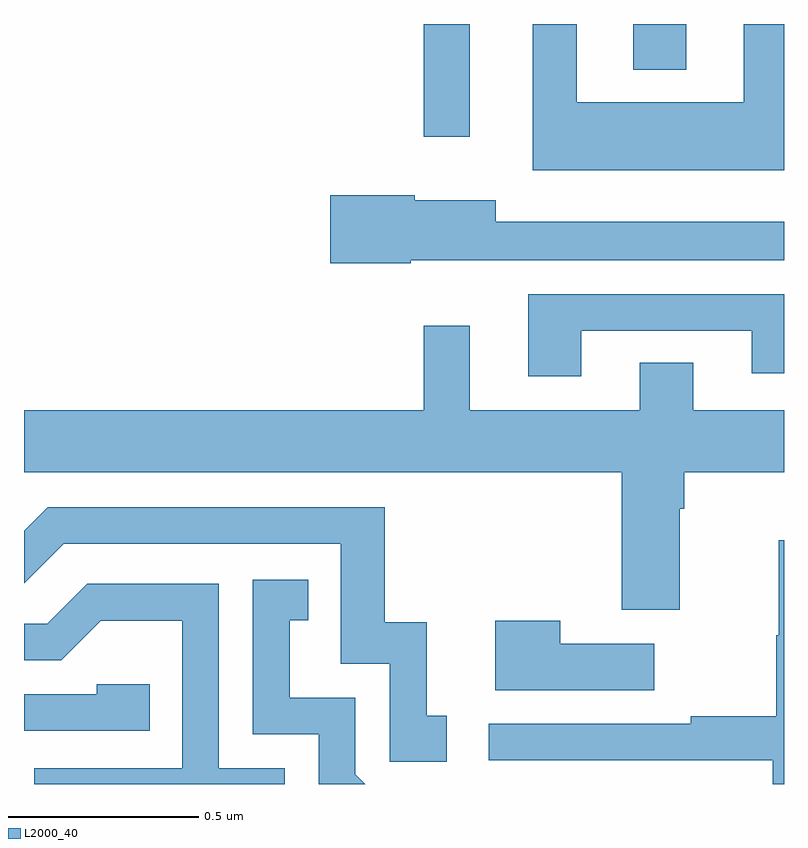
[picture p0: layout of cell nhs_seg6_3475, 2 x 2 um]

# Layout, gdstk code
import gdstk
lib = gdstk.Library(unit=1e-6, precision=1e-09)
def R(c, l, rs):  # rectangles x0, y0, x1, y1
    for r in rs: c.add(gdstk.rectangle(r[:2], r[2:], *l))
def P(c, l, *ps):  # polygons
    for p in ps: c.add(gdstk.Polygon(p, *l))
L2000_40 = (2000, 40)

nhs_seg6_3475 = lib.new_cell('nhs_seg6_3475')
R(nhs_seg6_3475, L2000_40, [(158.052,964.203,158.173,964.5), (158.603,964.379,158.743,964.5)])
P(nhs_seg6_3475, L2000_40, [(159,964.5),(158.894,964.5),(158.894,964.294),(158.455,964.294),(158.455,964.5),(158.339,964.5),(158.339,964.115),(159,964.115)],
  [(158.018,963.878),(159,963.878),(159,963.979),(158.242,963.979),(158.242,964.036),(158.028,964.036),(158.028,964.049),(157.806,964.049),(157.806,963.871),(158.018,963.871)],
  [(158.467,963.693),(158.915,963.693),(158.915,963.581),(159,963.581),(159,963.789),(158.327,963.789),(158.327,963.573),(158.467,963.573)],
  [(158.725,963.224),(158.738,963.224),(158.738,963.32),(159,963.32),(159,963.484),(158.761,963.484),(158.761,963.608),(158.621,963.608),(158.621,963.484),(158.173,963.484),(158.173,963.706),(158.052,963.706),(158.052,963.484),(157,963.484),(157,963.32),(158.573,963.32),(158.573,962.958),(158.725,962.958)],
  [(158.113,962.679),(158.06,962.679),(158.06,962.926),(157.949,962.926),(157.949,963.228),(157.062,963.228),(157,963.166),(157,963.028),(157.104,963.132),(157.833,963.132),(157.833,962.817),(157.962,962.817),(157.962,962.559),(158.113,962.559)],
  [(159,963.142),(158.986,963.142),(158.986,962.892),(158.979,962.892),(158.979,962.678),(158.755,962.678),(158.755,962.658),(158.223,962.658),(158.223,962.562),(158.971,962.562),(158.971,962.5),(159,962.5)],
  [(157.872,962.526),(157.872,962.727),(157.699,962.727),(157.699,962.931),(157.748,962.931),(157.748,963.037),(157.602,963.037),(157.602,962.631),(157.776,962.631),(157.776,962.5),(157.898,962.5)],
  [(157.686,962.541),(157.512,962.541),(157.512,963.027),(157.166,963.027),(157.061,962.922),(157,962.922),(157,962.826),(157.098,962.826),(157.202,962.93),(157.416,962.93),(157.416,962.541),(157.027,962.541),(157.027,962.5),(157.686,962.5)],
  [(158.659,962.869),(158.411,962.869),(158.411,962.929),(158.24,962.929),(158.24,962.747),(158.659,962.747)],
  [(157.331,962.763),(157.191,962.763),(157.191,962.736),(157,962.736),(157,962.64),(157.331,962.64)])

lib.write_gds('nhs_seg6_3475.gds')
